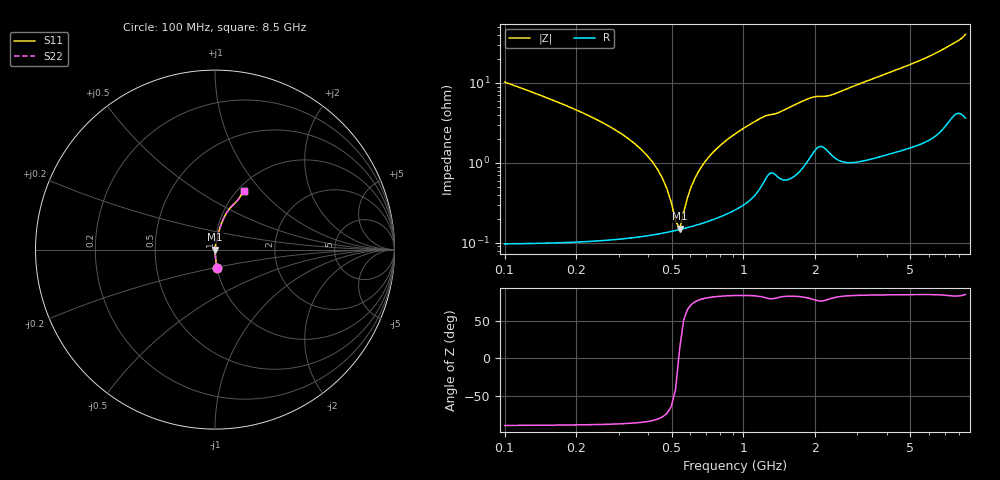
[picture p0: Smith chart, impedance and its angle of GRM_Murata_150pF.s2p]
!Murata Part Number: GRM1885C1H151GA01
!These Parameters are Measured in Series Mode Connection
!Data Generated on Mar 13, 2026
!  o--ll--o
!Port1  Port2
!  o------o
!Operation Temp=25[degC], DC Bias Voltage=0[V]
!Freq. Start=100[MHz] Stop=9[GHz] 401[Steps]
# Hz S RI R 50
!Freq.(Hz) S11(Real) S11(Imag) S21(Real) S21(Imag) S12(Real) S12(Imag) S22(Real) S22(Imag)
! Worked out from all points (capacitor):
!   401 points, 100 MHz to 8.5 GHz, reference 50 ohm
!   read as one part in series: C = 150 pF near 142 MHz
!   lowest |Z| = 150 mohm at 541 MHz (marker M1)
!   series resonance near 536.4 MHz, so ESL is about 590 pH
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1e8  0.0113 -0.1012  0.9887 0.1012  0.9887 0.1012  0.0113 -0.1012
3.73e8  0.00141 -0.0147  0.9986 0.0147  0.9986 0.0147  0.00141 -0.0147
4.36e8  0.00135 -0.00824  0.9987 0.00824  0.9987 0.00824  0.00135 -0.00824
4.57e8  0.00135 -0.00635  0.9986 0.00635  0.9986 0.00635  0.00135 -0.00635
4.99e8  0.00139 -0.00285  0.9986 0.00285  0.9986 0.00285  0.00139 -0.00285
5.2e8  0.00142 -0.00122  0.9986 0.00122  0.9986 0.00122  0.00142 -0.00122
5.41e8  0.00146 0.000347  0.9985 -0.000347  0.9985 -0.000347  0.00146 0.000347
5.62e8  0.00151 0.00185  0.9985 -0.00185  0.9985 -0.00185  0.00151 0.00185
6.25e8  0.00167 0.00609  0.9983 -0.00609  0.9983 -0.00609  0.00167 0.00609
6.67e8  0.00181 0.00871  0.9982 -0.00871  0.9982 -0.00871  0.00181 0.00871
7.3e8  0.00206 0.0124  0.9979 -0.0124  0.9979 -0.0124  0.00206 0.0124
8.14e8  0.00245 0.0171  0.9976 -0.0171  0.9976 -0.0171  0.00245 0.0171
9.61e8  0.00335 0.0247  0.9966 -0.0247  0.9966 -0.0247  0.00335 0.0247
1.15e9  0.00552 0.034  0.9945 -0.034  0.9945 -0.034  0.00552 0.034
1.507e9  0.0082 0.046  0.9918 -0.046  0.9918 -0.046  0.0082 0.046
1.906e9  0.0156 0.062  0.9844 -0.062  0.9844 -0.062  0.0156 0.062
2.284e9  0.0177 0.0659  0.9823 -0.0659  0.9823 -0.0659  0.0177 0.0659
2.914e9  0.018 0.0887  0.982 -0.0887  0.982 -0.0887  0.018 0.0887
4.3e9  0.0322 0.1354  0.9678 -0.1354  0.9678 -0.1354  0.0322 0.1354
5.707e9  0.054 0.1858  0.946 -0.1858  0.946 -0.1858  0.054 0.1858
7.114e9  0.0954 0.2442  0.9046 -0.2442  0.9046 -0.2442  0.0954 0.2442
8.5e9  0.1608 0.3248  0.8392 -0.3248  0.8392 -0.3248  0.1608 0.3248
